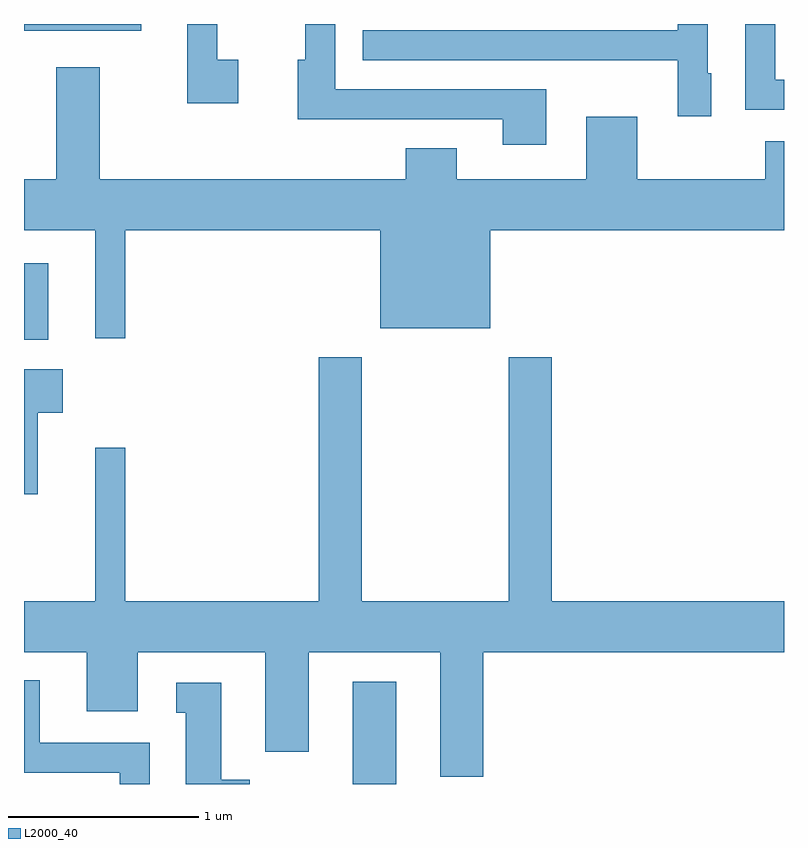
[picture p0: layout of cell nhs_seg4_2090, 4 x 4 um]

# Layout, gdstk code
import gdstk
lib = gdstk.Library(unit=1e-6, precision=1e-09)
def R(c, l, rs):  # rectangles x0, y0, x1, y1
    for r in rs: c.add(gdstk.rectangle(r[:2], r[2:], *l))
def P(c, l, *ps):  # polygons
    for p in ps: c.add(gdstk.Polygon(p, *l))
L2000_40 = (2000, 40)

nhs_seg4_2090 = lib.new_cell('nhs_seg4_2090')
R(nhs_seg4_2090, L2000_40, [(247.341,1353.982,247.569,1354.519), (245.611,1356.321,245.739,1356.724), (245.611,1357.946,246.229,1357.982)])
P(nhs_seg4_2090, L2000_40, [(248.359,1357.639),(247.249,1357.639),(247.249,1357.982),(247.091,1357.982),(247.091,1357.794),(247.051,1357.794),(247.051,1357.481),(248.131,1357.481),(248.131,1357.346),(248.359,1357.346)],
  [(249.229,1357.724),(249.209,1357.724),(249.209,1357.982),(249.051,1357.982),(249.051,1357.949),(247.393,1357.949),(247.393,1357.791),(249.051,1357.791),(249.051,1357.496),(249.229,1357.496)],
  [(249.611,1357.689),(249.564,1357.689),(249.564,1357.982),(249.406,1357.982),(249.406,1357.531),(249.611,1357.531)],
  [(246.739,1357.794),(246.629,1357.794),(246.629,1357.982),(246.471,1357.982),(246.471,1357.566),(246.739,1357.566)],
  [(246.144,1356.896),(247.486,1356.896),(247.486,1356.381),(248.064,1356.381),(248.064,1356.896),(249.611,1356.896),(249.611,1357.364),(249.511,1357.364),(249.511,1357.164),(248.839,1357.164),(248.839,1357.494),(248.571,1357.494),(248.571,1357.164),(247.889,1357.164),(247.889,1357.329),(247.621,1357.329),(247.621,1357.164),(246.009,1357.164),(246.009,1357.754),(245.781,1357.754),(245.781,1357.164),(245.611,1357.164),(245.611,1356.896),(245.986,1356.896),(245.986,1356.328),(246.144,1356.328)],
  [(248.029,1354.676),(249.611,1354.676),(249.611,1354.944),(248.389,1354.944),(248.389,1356.229),(248.161,1356.229),(248.161,1354.944),(247.389,1354.944),(247.389,1356.229),(247.161,1356.229),(247.161,1354.944),(246.144,1354.944),(246.144,1355.753),(245.986,1355.753),(245.986,1354.944),(245.611,1354.944),(245.611,1354.676),(245.941,1354.676),(245.941,1354.366),(246.209,1354.366),(246.209,1354.676),(246.881,1354.676),(246.881,1354.151),(247.109,1354.151),(247.109,1354.676),(247.801,1354.676),(247.801,1354.021),(248.029,1354.021)],
  [(245.684,1355.936),(245.814,1355.936),(245.814,1356.164),(245.611,1356.164),(245.611,1355.508),(245.684,1355.508)],
  [(246.274,1354.199),(245.694,1354.199),(245.694,1354.528),(245.611,1354.528),(245.611,1354.041),(246.116,1354.041),(246.116,1353.982),(246.274,1353.982)],
  [(246.799,1354.004),(246.649,1354.004),(246.649,1354.514),(246.413,1354.514),(246.413,1354.356),(246.461,1354.356),(246.461,1353.982),(246.799,1353.982)])

lib.write_gds('nhs_seg4_2090.gds')
